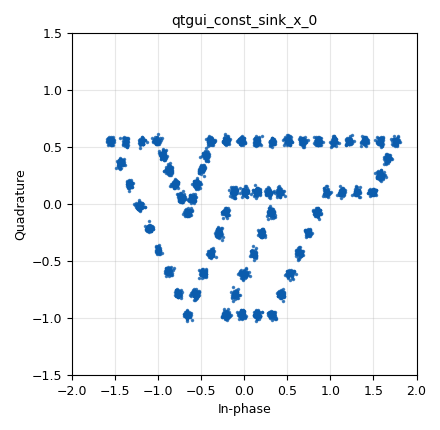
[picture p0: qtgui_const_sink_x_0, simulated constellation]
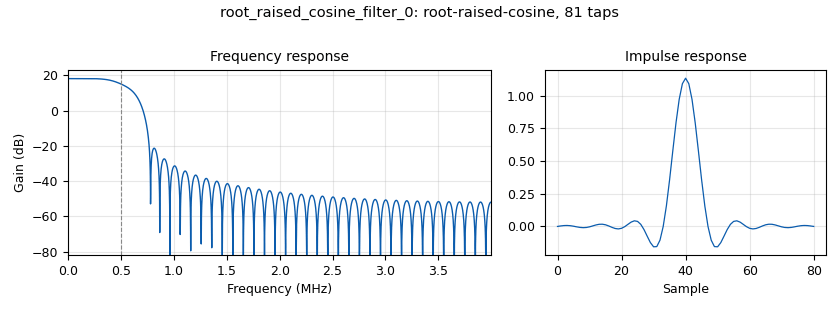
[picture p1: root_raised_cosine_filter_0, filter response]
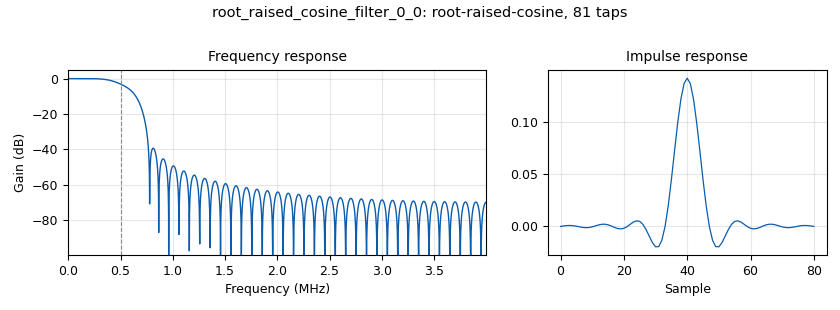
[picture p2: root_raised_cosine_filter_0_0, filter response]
<?xml version='1.0' encoding='utf-8'?>
<?grc format='1' created='3.7.7'?>
<flow_graph>
<block>
<key>options</key>
<param><key>id</key><value>vtModulation</value></param>
<param><key>author</key><value>William C. Headley</value></param>
<param><key>description</key><value>VT modulation provided by Joe Gaeddert</value></param>
<param><key>generate_options</key><value>qt_gui</value></param>
<param><key>category</key><value>Custom</value></param>
</block>
<block>
<key>variable</key>
<param><key>id</key><value>rrcTaps</value></param>
<param><key>value</key><value>10*sampsPerSymb</value></param>
</block>
<block>
<key>variable</key>
<param><key>id</key><value>rrcAlpha</value></param>
<param><key>value</key><value>0.5</value></param>
</block>
<block>
<key>variable</key>
<param><key>id</key><value>sampRate</value></param>
<param><key>value</key><value>8e6</value></param>
</block>
<block>
<key>variable</key>
<param><key>id</key><value>sampsPerSymb</value></param>
<param><key>value</key><value>8</value></param>
</block>
<block>
<key>variable</key>
<param><key>id</key><value>symbRate</value></param>
<param><key>value</key><value>sampRate/sampsPerSymb</value></param>
</block>
<block>
<key>digital_chunks_to_symbols_xx</key>
<param><key>id</key><value>digital_chunks_to_symbols_2_0</value></param>
<param><key>in_type</key><value>byte</value></param>
<param><key>out_type</key><value>complex</value></param>
<param><key>symbol_table</key><value>[ -1.5633e+00+ 5.5460e-01j, -1.3833e+00+ 5.5460e-01j,-1.0234e+00+ 5.5460e-01j, -1.2034e+00+ 5.5460e-01j,-7.3553e-01+ 5.0751e-02j, -8.0750e-01+ 1.7671e-01j,-9.5146e-01+ 4.2863e-01j, -8.7948e-01+ 3.0267e-01j,-3.3741e-02+ 5.5460e-01j, -2.1368e-01+ 5.5460e-01j,-4.4761e-01+ 4.2863e-01j, -3.9363e-01+ 5.5460e-01j,-6.6355e-01+ -7.5211e-02j, -6.0956e-01+ 5.0751e-02j,-5.0160e-01+ 3.0267e-01j, -5.5558e-01+ 1.7671e-01j,9.5596e-01+ 1.0473e-01j, 1.1359e+00+ 1.0473e-01j,1.4958e+00+ 1.0473e-01j, 1.3158e+00+ 1.0473e-01j,1.5858e+00+ 5.5460e-01j, 1.7657e+00+ 5.5460e-01j,1.5858e+00+ 2.5499e-01j, 1.6757e+00+ 4.0434e-01j,1.4621e-01+ 5.5460e-01j, 3.2615e-01+ 5.5460e-01j,6.8604e-01+ 5.5460e-01j, 5.0610e-01+ 5.5460e-01j,1.4058e+00+ 5.5460e-01j, 1.2259e+00+ 5.5460e-01j,8.6599e-01+ 5.5460e-01j, 1.0459e+00+ 5.5460e-01j,-1.4508e+00+ 3.6385e-01j, -1.3383e+00+ 1.7221e-01j,-1.1134e+00+ -2.1017e-01j, -1.2259e+00+ -1.8529e-02j,-6.6355e-01+ -9.7494e-01j, -7.7601e-01+ -7.8420e-01j,-1.0009e+00+ -4.0181e-01j, -8.8848e-01+ -5.9255e-01j,1.4621e-01+ 1.0473e-01j, 1.1246e-02+ 1.0473e-01j,-2.1368e-01+ -7.5211e-02j, -1.2371e-01+ 1.0473e-01j,-5.7358e-01+ -7.9499e-01j, -4.8360e-01+ -6.1505e-01j,-3.0366e-01+ -2.5516e-01j, -3.9363e-01+ -4.3510e-01j,8.5069e-01+ -7.5211e-02j, 7.4632e-01+ -2.5516e-01j,5.3579e-01+ -6.1505e-01j, 6.4105e-01+ -4.3510e-01j,-3.3741e-02+ -9.7494e-01j, 1.4621e-01+ -9.7494e-01j,4.3142e-01+ -7.9499e-01j, 3.2615e-01+ -9.7494e-01j,2.8116e-01+ 1.0473e-01j, 4.1612e-01+ 1.0473e-01j,2.0649e-01+ -2.5516e-01j, 3.1086e-01+ -7.5211e-02j,-2.1368e-01+ -9.7494e-01j, -1.0842e-01+ -7.9499e-01j,1.0122e-01+ -4.3510e-01j, -4.0500e-03+ -6.1505e-01j]</value></param>
<param><key>dimension</key><value>1</value></param>
</block>
<block>
<key>root_raised_cosine_filter</key>
<param><key>id</key><value>root_raised_cosine_filter_0</value></param>
<param><key>type</key><value>interp_fir_filter_ccf</value></param>
<param><key>interp</key><value>sampsPerSymb</value></param>
<param><key>gain</key><value>sampsPerSymb</value></param>
<param><key>samp_rate</key><value>sampRate</value></param>
<param><key>sym_rate</key><value>symbRate</value></param>
<param><key>alpha</key><value>rrcAlpha</value></param>
<param><key>ntaps</key><value>rrcTaps</value></param>
</block>
<block>
<key>analog_random_source_x</key>
<param><key>id</key><value>analog_random_source_x_0</value></param>
<param><key>type</key><value>byte</value></param>
<param><key>min</key><value>0</value></param>
<param><key>max</key><value>256</value></param>
<param><key>num_samps</key><value>10000000</value></param>
<param><key>repeat</key><value>True</value></param>
</block>
<block>
<key>blocks_packed_to_unpacked_xx</key>
<param><key>id</key><value>blocks_packed_to_unpacked_2_0</value></param>
<param><key>type</key><value>byte</value></param>
<param><key>bits_per_chunk</key><value>6</value></param>
<param><key>endianness</key><value>gr.GR_MSB_FIRST</value></param>
</block>
<block>
<key>blocks_delay</key>
<param><key>id</key><value>blocks_delay_0_0</value></param>
<param><key>type</key><value>complex</value></param>
<param><key>delay</key><value>3</value></param>
</block>
<block>
<key>root_raised_cosine_filter</key>
<param><key>id</key><value>root_raised_cosine_filter_0_0</value></param>
<param><key>type</key><value>fir_filter_ccf</value></param>
<param><key>decim</key><value>sampsPerSymb</value></param>
<param><key>gain</key><value>1.0</value></param>
<param><key>samp_rate</key><value>sampRate</value></param>
<param><key>sym_rate</key><value>symbRate</value></param>
<param><key>alpha</key><value>rrcAlpha</value></param>
<param><key>ntaps</key><value>rrcTaps</value></param>
</block>
<block>
<key>qtgui_sink_x</key>
<param><key>id</key><value>qtgui_sink_x_0</value></param>
<param><key>_enabled</key><value>False</value></param>
<param><key>type</key><value>complex</value></param>
<param><key>fftsize</key><value>1024</value></param>
<param><key>wintype</key><value>firdes.WIN_BLACKMAN_hARRIS</value></param>
<param><key>fc</key><value>0</value></param>
<param><key>bw</key><value>symbRate</value></param>
<param><key>freqchangevar</key><value>None</value></param>
<param><key>showports</key><value>True</value></param>
</block>
<block>
<key>qtgui_const_sink_x</key>
<param><key>id</key><value>qtgui_const_sink_x_0</value></param>
<param><key>type</key><value>complex</value></param>
<param><key>size</key><value>4092</value></param>
<param><key>ymin</key><value>-1.5</value></param>
<param><key>ymax</key><value>1.5</value></param>
</block>
<block>
<key>channels_channel_model</key>
<param><key>id</key><value>channels_channel_model_0</value></param>
<param><key>noise_voltage</key><value>0.08</value></param>
<param><key>freq_offset</key><value>0.0</value></param>
<param><key>epsilon</key><value>1.0</value></param>
<param><key>taps</key><value>1.0</value></param>
<param><key>seed</key><value>0</value></param>
</block>
<connection><source_block_id>root_raised_cosine_filter_0_0</source_block_id><sink_block_id>qtgui_const_sink_x_0</sink_block_id><source_key>0</source_key><sink_key>0</sink_key></connection>
<connection><source_block_id>blocks_delay_0_0</source_block_id><sink_block_id>channels_channel_model_0</sink_block_id><source_key>0</source_key><sink_key>0</sink_key></connection>
<connection><source_block_id>channels_channel_model_0</source_block_id><sink_block_id>root_raised_cosine_filter_0_0</sink_block_id><source_key>0</source_key><sink_key>0</sink_key></connection>
<connection><source_block_id>blocks_packed_to_unpacked_2_0</source_block_id><sink_block_id>digital_chunks_to_symbols_2_0</sink_block_id><source_key>0</source_key><sink_key>0</sink_key></connection>
<connection><source_block_id>analog_random_source_x_0</source_block_id><sink_block_id>blocks_packed_to_unpacked_2_0</sink_block_id><source_key>0</source_key><sink_key>0</sink_key></connection>
<connection><source_block_id>digital_chunks_to_symbols_2_0</source_block_id><sink_block_id>root_raised_cosine_filter_0</sink_block_id><source_key>0</source_key><sink_key>0</sink_key></connection>
<connection><source_block_id>root_raised_cosine_filter_0</source_block_id><sink_block_id>blocks_delay_0_0</sink_block_id><source_key>0</source_key><sink_key>0</sink_key></connection>
<connection><source_block_id>root_raised_cosine_filter_0_0</source_block_id><sink_block_id>qtgui_sink_x_0</sink_block_id><source_key>0</source_key><sink_key>0</sink_key></connection>
</flow_graph>
